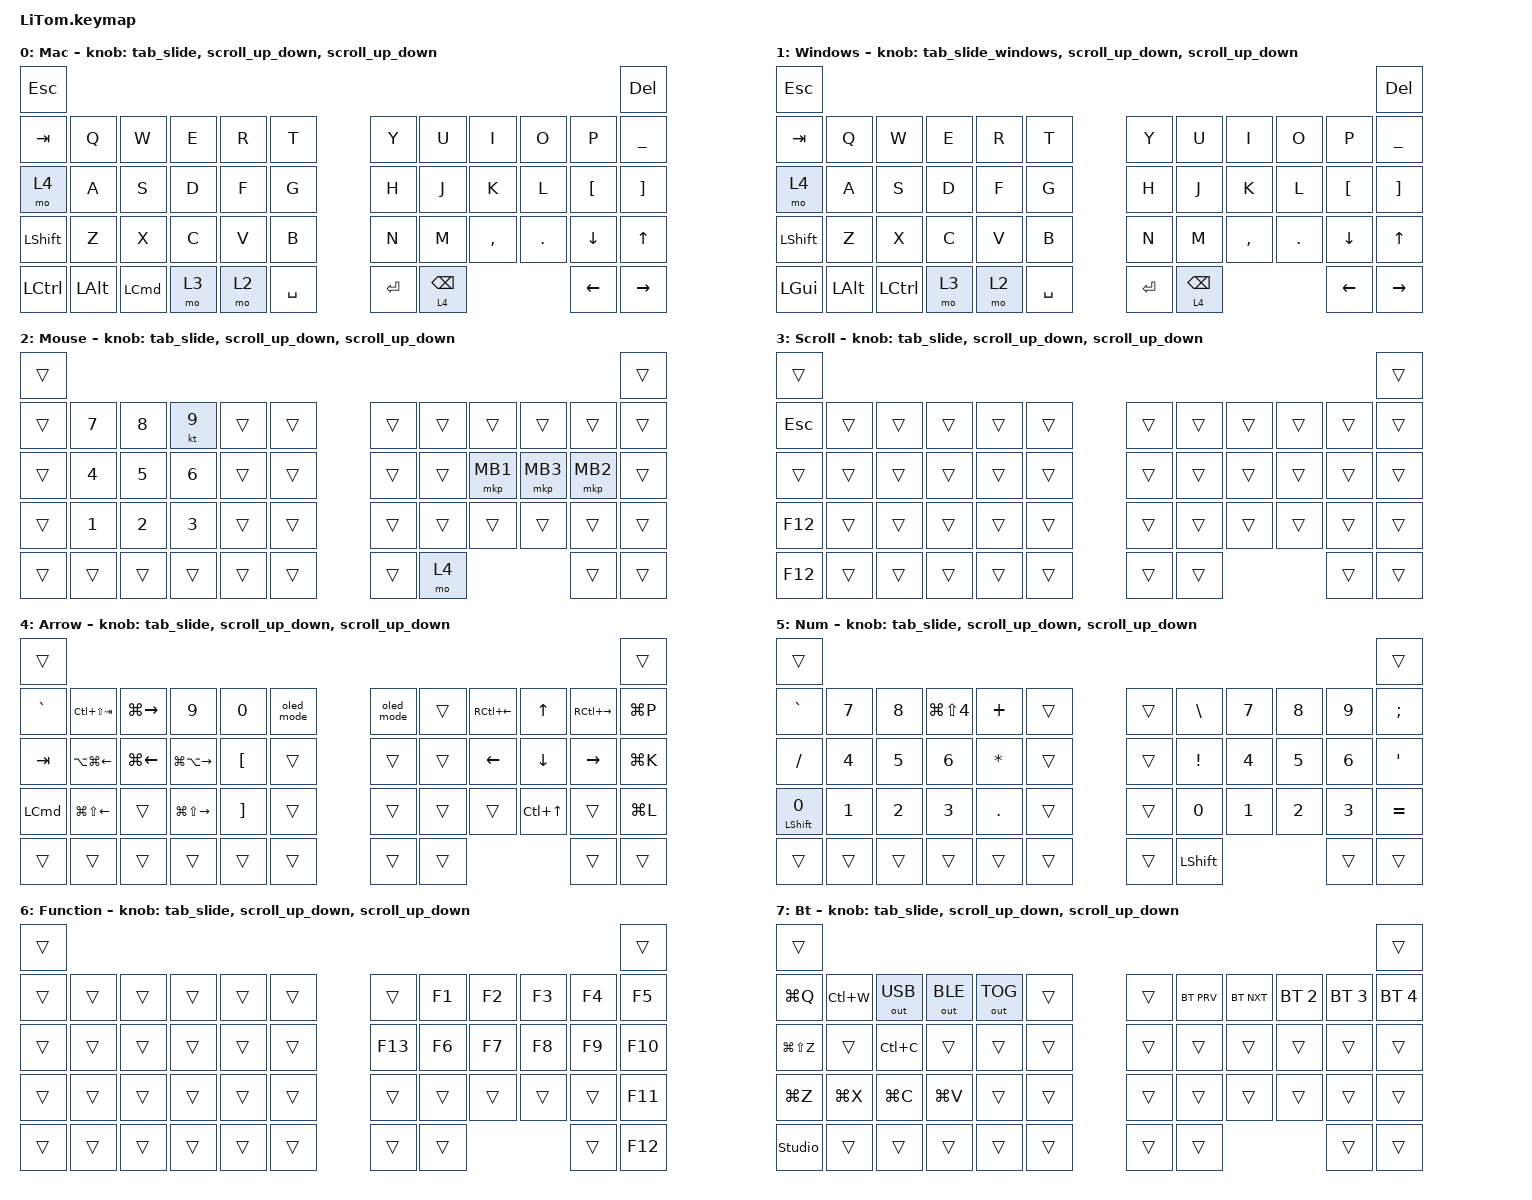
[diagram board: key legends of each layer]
#include <zephyr/dt-bindings/input/input-event-codes.h>
#include <input/processors/runtime-input-processor.dtsi>
#include <behaviors/runtime-sensor-rotate.dtsi>
#include <behaviors.dtsi>
#include <behaviors/runtime_macro.dtsi>
#include <dt-bindings/zmk/bt.h>
#include <dt-bindings/zmk/keys.h>
#include <dt-bindings/zmk/outputs.h>
#include <dt-bindings/zmk/pointing.h>

// Overrides must follow the runtime processor definitions above.
&mouse_runtime_input_processor {
    // New storage keys prevent legacy settings from overriding these defaults.
    processor-label = "LiTom Mouse";
    temp-layer-enabled;
    temp-layer = <2>;
    temp-layer-activation-delay-ms = <0>;
    temp-layer-deactivation-delay-ms = <400>;
};

&scroll_runtime_input_processor {
    processor-label = "LiTom Scroll";
    x-codes = <INPUT_REL_X>;
    y-codes = <INPUT_REL_Y>;
    active-layers = <(1 << 3)>;
    xy-to-scroll-enabled;
    y-invert;
    // Keep the existing effective gain: runtime 1/60, then wheel-only 1/16.
};

#undef ZMK_POINTING_DEFAULT_SCRL_VAL

#define ZMK_POINTING_DEFAULT_SCRL_VAL 80

/ {
    behaviors {
        scroll_up_down: behavior_sensor_rotate_mouse_wheel_up_down {
            compatible = "zmk,behavior-runtime-sensor-rotate";
            label = "ENCODER_MSC_DOWN_UP";
            #sensor-binding-cells = <0>;
            cw-binding = <&msc SCRL_DOWN>;
            ccw-binding = <&msc SCRL_UP>;
            tap-ms = <20>;
        };

        tab_slide_windows: behavior_sensor_rotate_tab_slide_windows {
            compatible = "zmk,behavior-runtime-sensor-rotate";
            label = "ENCODER_WINDOWS_TABS";
            #sensor-binding-cells = <0>;
            cw-binding = <&kp LC(PAGE_DOWN)>;
            ccw-binding = <&kp LC(PAGE_UP)>;
            tap-ms = <20>;
        };

        tab_slide: behavior_sensor_rotate_tab_slide {
            compatible = "zmk,behavior-runtime-sensor-rotate";
            label = "ENCODER_TAB_SLIDE";
            #sensor-binding-cells = <0>;
            cw-binding = <&kp LA(LG(RIGHT_ARROW))>;
            ccw-binding = <&kp LA(LG(LEFT_ARROW))>;
            tap-ms = <20>;
        };
    };

    runtime_combo_defaults {
        compatible = "cormoran,runtime-combo-defaults";

        grave {
            slot = <0>;
            bindings = <&kp GRAVE>;
            key-positions = <6 5>;
            timeout-ms = <50>;
            require-prior-idle-ms = <150>;
        };

        efu7 {
            slot = <1>;
            bindings = <&kp F7>;
            key-positions = <6 7>;
            timeout-ms = <50>;
            require-prior-idle-ms = <150>;
        };

        efu9 {
            slot = <2>;
            bindings = <&kp F9>;
            key-positions = <8 9>;
            timeout-ms = <50>;
            require-prior-idle-ms = <150>;
        };

        efu10 {
            slot = <3>;
            bindings = <&kp F10>;
            key-positions = <9 10>;
            timeout-ms = <50>;
            require-prior-idle-ms = <150>;
        };

        efu12 {
            slot = <4>;
            bindings = <&kp F12>;
            key-positions = <10 11>;
            timeout-ms = <50>;
            require-prior-idle-ms = <150>;
        };

        efu2 {
            slot = <5>;
            bindings = <&kp F2>;
            key-positions = <4 5>;
            timeout-ms = <50>;
            require-prior-idle-ms = <150>;
        };

        pscrn {
            slot = <6>;
            bindings = <&kp PRINTSCREEN>;
            key-positions = <12 13>;
            timeout-ms = <50>;
            require-prior-idle-ms = <150>;
        };
    };

    keymap {
        compatible = "zmk,keymap";

        mac_layer {
            display-name = "Mac";
            bindings = <
&kp ESCAPE  &kp DELETE
&kp TAB     &kp Q         &kp W             &kp E  &kp R  &kp T      &kp Y      &kp U            &kp I           &kp O            &kp P             &kp UNDERSCORE
&mo 4       &kp A         &kp S             &kp D  &kp F  &kp G      &kp H      &kp J            &kp K           &kp L            &kp LEFT_BRACKET  &kp RIGHT_BRACKET
&kp LSHFT   &kp Z         &kp X             &kp C  &kp V  &kp B      &kp N      &kp M            &kp COMMA       &kp PERIOD       &kp DOWN          &kp UP
&kp LCTRL   &kp LEFT_ALT  &kp LEFT_COMMAND  &mo 3  &mo 2  &kp SPACE  &kp ENTER  &lt 4 BACKSPACE  &kp LEFT_ARROW  &kp RIGHT_ARROW
            >;

            sensor-bindings = <
                &tab_slide
                &scroll_up_down
                &scroll_up_down
            >;
        };

        windows_layer {
            display-name = "Windows";
            bindings = <
&kp ESCAPE  &kp DELETE
&kp TAB     &kp Q         &kp W             &kp E  &kp R  &kp T      &kp Y      &kp U            &kp I           &kp O            &kp P             &kp UNDERSCORE
&mo 4       &kp A         &kp S             &kp D  &kp F  &kp G      &kp H      &kp J            &kp K           &kp L            &kp LEFT_BRACKET  &kp RIGHT_BRACKET
&kp LSHFT   &kp Z         &kp X             &kp C  &kp V  &kp B      &kp N      &kp M            &kp COMMA       &kp PERIOD       &kp DOWN          &kp UP
&kp LGUI   &kp LEFT_ALT  &kp LCTRL  &mo 3  &mo 2  &kp SPACE  &kp ENTER  &lt 4 BACKSPACE  &kp LEFT_ARROW  &kp RIGHT_ARROW
            >;

            sensor-bindings = <
                &tab_slide_windows
                &scroll_up_down
                &scroll_up_down
            >;
        };

        MOUSE {
            display-name = "Mouse";
            bindings = <
&trans  &trans
&trans  &kp N7        &kp N8        &kt N9        &trans  &trans  &trans  &trans  &trans    &trans    &trans    &trans
&trans  &kp NUMBER_4  &kp N5        &kp NUMBER_6  &trans  &trans  &trans  &trans  &mkp MB1  &mkp MB3  &mkp MB2  &trans
&trans  &kp NUMBER_1  &kp NUMBER_2  &kp NUMBER_3  &trans  &trans  &trans  &trans  &trans    &trans    &trans    &trans
&trans  &trans        &trans        &trans        &trans  &trans  &trans  &mo 4   &trans    &trans
            >;

            sensor-bindings = <
                &tab_slide
                &scroll_up_down
                &scroll_up_down
            >;
        };

        SCROLL {
            display-name = "Scroll";
            bindings = <
&trans      &trans
&kp ESCAPE  &trans  &trans  &trans  &trans  &trans  &trans  &trans  &trans  &trans  &trans  &trans
&trans      &trans  &trans  &trans  &trans  &trans  &trans  &trans  &trans  &trans  &trans  &trans
&kp F12     &trans  &trans  &trans  &trans  &trans  &trans  &trans  &trans  &trans  &trans  &trans
&kp F12     &trans  &trans  &trans  &trans  &trans  &trans  &trans  &trans  &trans
            >;

            sensor-bindings = <
                &tab_slide
                &scroll_up_down
                &scroll_up_down
            >;
        };

        ARROW {
            display-name = "Arrow";
            bindings = <
&trans     &trans
&kp GRAVE  &kp LC(LS(TAB))         &kp LG(RIGHT)  &kp NUMBER_9             &kp NUMBER_0       &oled_mode  &oled_mode  &trans  &kp RC(LEFT_ARROW)  &kp UP_ARROW      &kp RC(RIGHT_ARROW)  &kp LG(P)
&kp TAB    &kp LA(LG(LEFT_ARROW))  &kp LG(LEFT)   &kp LG(LA(RIGHT_ARROW))  &kp LEFT_BRACKET   &trans      &trans      &trans  &kp LEFT_ARROW      &kp DOWN_ARROW    &kp RIGHT_ARROW      &kp LG(K)
&kp LCMD   &kp LG(LS(LEFT_ARROW))  &trans         &kp LG(LS(RIGHT_ARROW))  &kp RIGHT_BRACKET  &trans      &trans      &trans  &trans              &kp LC(UP_ARROW)  &trans               &kp LG(L)
&trans     &trans                  &trans         &trans                   &trans             &trans      &trans      &trans  &trans              &trans
            >;

            sensor-bindings = <
                &tab_slide
                &scroll_up_down
                &scroll_up_down
            >;
        };

        NUM {
            display-name = "Num";
            bindings = <
&trans                   &trans
&kp GRAVE                &kp NUMBER_7  &kp NUMBER_8  &kp LG(LS(NUMBER_4))  &kp PLUS      &trans  &trans  &kp BACKSLASH    &kp NUMBER_7  &kp NUMBER_8  &kp NUMBER_9  &kp SEMICOLON
&kp SLASH                &kp NUMBER_4  &kp NUMBER_5  &kp NUMBER_6          &kp ASTERISK  &trans  &trans  &kp EXCLAMATION  &kp NUMBER_4  &kp NUMBER_5  &kp NUMBER_6  &kp SQT
&mt LEFT_SHIFT NUMBER_0  &kp NUMBER_1  &kp NUMBER_2  &kp NUMBER_3          &kp PERIOD    &trans  &trans  &kp NUMBER_0     &kp NUMBER_1  &kp NUMBER_2  &kp NUMBER_3  &kp EQUAL
&trans                   &trans        &trans        &trans                &trans        &trans  &trans  &kp LEFT_SHIFT   &trans        &trans
            >;

            sensor-bindings = <
                &tab_slide
                &scroll_up_down
                &scroll_up_down
            >;
        };

        FUNCTION {
            display-name = "Function";
            bindings = <
&trans  &trans
&trans  &trans  &trans  &trans  &trans  &trans  &trans   &kp F1  &kp F2  &kp F3   &kp F4  &kp F5
&trans  &trans  &trans  &trans  &trans  &trans  &kp F13  &kp F6  &kp F7  &kp F8   &kp F9  &kp F10
&trans  &trans  &trans  &trans  &trans  &trans  &trans   &trans  &trans  &trans   &trans  &kp F11
&trans  &trans  &trans  &trans  &trans  &trans  &trans   &trans  &trans  &kp F12
            >;

            sensor-bindings = <
                &tab_slide
                &scroll_up_down
                &scroll_up_down
            >;
        };

        BT {
            display-name = "Bt";
            bindings = <
&trans          &trans
&kp LG(Q)       &kp LC(W)  &out OUT_USB  &out OUT_BLE  &out OUT_TOG  &trans  &trans  &bt BT_PRV  &bt BT_NXT  &bt BT_SEL 2  &bt BT_SEL 3  &bt BT_SEL 4
&kp LG(LS(Z))   &trans     &kp LC(C)     &trans        &trans        &trans  &trans  &trans      &trans      &trans        &trans        &trans
&kp LG(Z)       &kp LG(X)  &kp LG(C)     &kp LG(V)     &trans        &trans  &trans  &trans      &trans      &trans        &trans        &trans
&studio_unlock  &trans     &trans        &trans        &trans        &trans  &trans  &trans      &trans      &trans
            >;

            sensor-bindings = <
                &tab_slide
                &scroll_up_down
                &scroll_up_down
            >;
        };
    };
};
